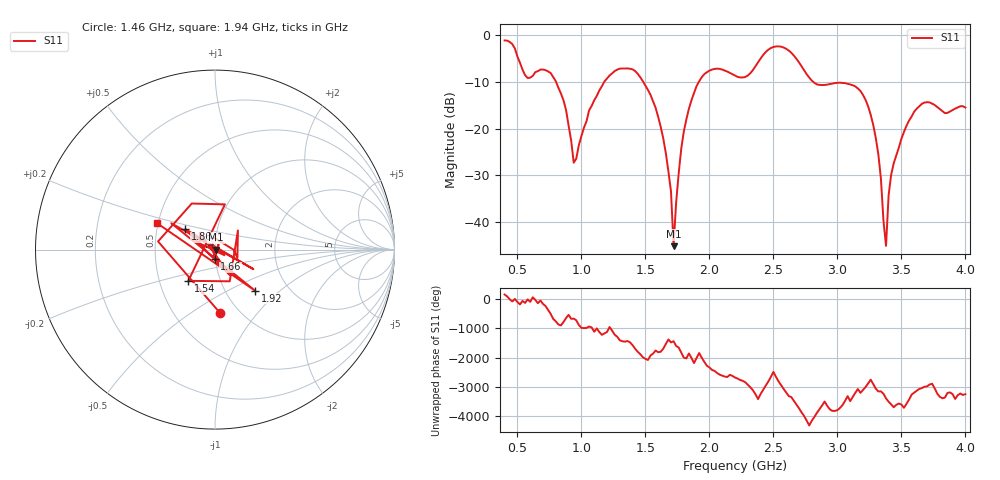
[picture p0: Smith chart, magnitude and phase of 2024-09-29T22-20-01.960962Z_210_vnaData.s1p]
!Created with skrf (http://scikit-rf.org).
# Hz S RI R 50.0
!freq ReS11 ImS11
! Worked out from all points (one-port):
!   181 points, 400 MHz to 4 GHz, reference 50 ohm
!   lowest |S11| = -45.1 dB at 1.72 GHz (marker M1), VSWR 1.01, Z = 50.6 - j0.032 ohm
!   |S11| at or under -10 dB: 801.5 MHz to 1.179 GHz (377.5 MHz wide, 38.1 % of centre); 1.482 GHz to 1.918 GHz (435.9 MHz wide, 25.6 % of centre); 2.81 GHz to end of sweep
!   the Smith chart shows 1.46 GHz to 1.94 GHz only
!   S11 on the Smith chart (normalised r, x): 1.46 GHz: 0.82, -0.66; 1.54 GHz: 0.70, -0.26; 1.66 GHz: 0.99, -0.11; 1.86 GHz: 0.70, +0.17; 1.92 GHz: 1.37, -0.70; 1.94 GHz: 0.49, +0.17
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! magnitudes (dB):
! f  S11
! 400 MHz  -1.2
! 760 MHz  -8.2
! 860 MHz  -14.0
! 940 MHz  -27.3
! 1.06 GHz  -16.1
! 1.3 GHz  -7.2
! 1.46 GHz  -9.1
! 1.54 GHz  -12.8
! 1.66 GHz  -25.3
! 1.7 GHz  -33.4
! 1.72 GHz  -45.1
! 1.76 GHz  -29.6
! 1.86 GHz  -14.0
! 1.92 GHz  -9.9
! 1.94 GHz  -9.0
! 2.2 GHz  -8.7
! 2.5 GHz  -2.6
! 2.66 GHz  -4.4
! 2.84 GHz  -10.6
! 3.1 GHz  -10.6
! 3.28 GHz  -19.2
! 3.34 GHz  -30.7
! 3.38 GHz  -45.0
! 3.4 GHz  -34.3
! 3.42 GHz  -29.9
! 3.56 GHz  -18.3
! 3.68 GHz  -14.5
! 4 GHz  -15.5
